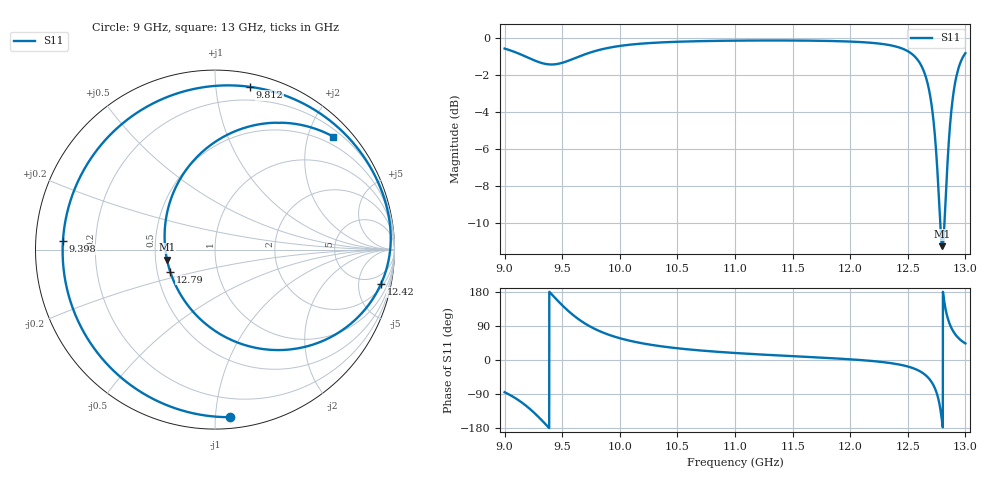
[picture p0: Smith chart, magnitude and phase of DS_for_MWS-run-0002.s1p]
! TOUCHSTONE file generated by CST DESIGN STUDIO
! Date and time: Tue Feb  4 18:03:53 2025
! Project name: C:\Work\MatlabApps\UnitCellOptimizationMatlab\CST\unitcell.cst
! Tree item: Tasks\Sweep1\SPara1\S-Parameters
! Header version: 2024
! Port assignment regex: !\s*Touchstone port\s*([0-9]+)\s*=\s*(CST MWS port|CST DES external port|CST DES block port)\s*(.+)\s* \(\"(.*)\"\)(\s*mode\s*([0-9]+))?.*
! Touchstone port assignment:
! Touchstone port 1 = CST DES external port 1 ("")
# GHz S MA R 50
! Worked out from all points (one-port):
!   4001 points, 9 GHz to 13 GHz, reference 50 ohm
!   lowest |S11| = -11.3 dB at 12.8 GHz (marker M1), VSWR 1.75, Z = 28.7 - j3.52 ohm
!   |S11| at or under -10 dB: 12.78132 GHz to 12.81842 GHz (37.1 MHz wide, 0.29 % of centre)
!   S11 on the Smith chart (normalised r, x): 9 GHz: 0.07, -1.09; 9.398 GHz: 0.08, +0.03; 9.812 GHz: 0.09, +1.23; 12.42 GHz: 2.57, -9.10; 12.79 GHz: 0.59, -0.16; 13 GHz: 0.33, +2.45
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9  0.9371 -85.0
9.11  0.9117 -103.9
9.203  0.8858 -124.9
9.311  0.8584 -155.4
9.398  0.8486 176.7
9.5  0.8575 144.5
9.569  0.8724 125.1
9.639  0.8899 108.3
9.812  0.9276 77.9
10  0.9526 57.5
10.216  0.9679 42.9
10.5  0.9778 31.0
11  0.9847 18.5
11.5  0.9855 10.1
12  0.9789 1.8
12.42  0.9446 -11.6
12.5  0.922 -17.2
12.626  0.8318 -33.5
12.671  0.7561 -44.7
12.712  0.6401 -60.8
12.754  0.4526 -90.0
12.794  0.2783 -153.7
12.8  0.2733 -168.0
12.834  0.3969 125.2
12.859  0.5406 98.7
12.883  0.6576 81.9
12.942  0.8329 57.2
13  0.9106 43.8
